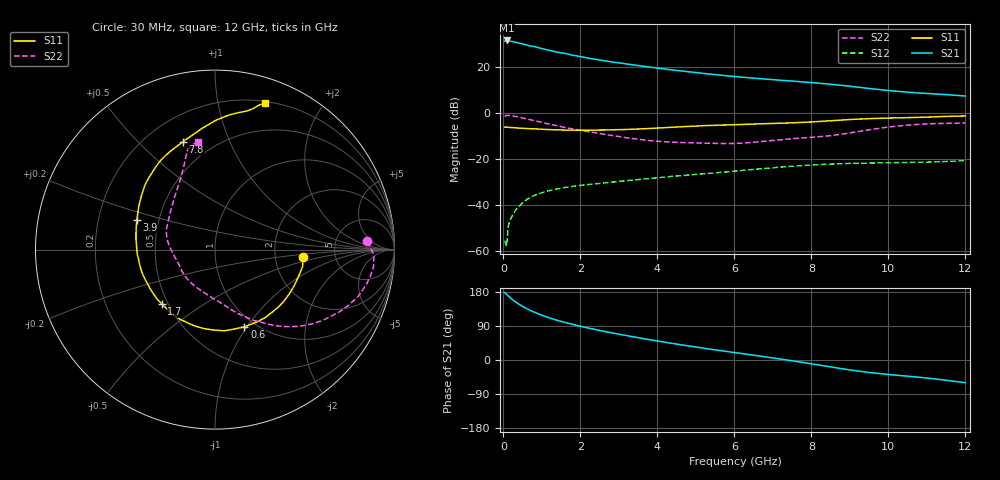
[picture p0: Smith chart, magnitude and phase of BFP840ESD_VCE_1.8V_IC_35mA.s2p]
! Infineon Technologies  Discrete & RF Semiconductors
! BFP840ESD
! VCE =  1.8 V,  IC =  35 mA
! Common Emitter S-Parameters:  May 2012
# GHz  S  MA  R  50
!  f  S11  S21  S12  S22
! GHz  MAG  ANG  MAG  ANG  MAG  ANG  MAG  ANG
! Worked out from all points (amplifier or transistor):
!   93 points, 30 MHz to 12 GHz, reference 50 ohm
!   highest |S21| = 31.4 dB at 80 MHz (marker M1)
!   |S21| within 3 dB of that: start of sweep to 882.4 MHz
!   unconditionally stable (mu >= 1): start of sweep to 103.6 MHz; 3.133 GHz to 8.55 GHz
!   at 1.1 GHz: K = 0.59, MSG = 30.8 dB, |S12| = -34.0 dB
!   at 4.2 GHz: K = 1.09, MAG = 21.5 dB, |S12| = -27.8 dB
!   at 12 GHz: K = 0.73, MSG = 14.0 dB, |S12| = -20.7 dB
!   S11 on the Smith chart (normalised r, x): 30 MHz: 2.90, -0.30; 600 MHz: 0.89, -0.97; 1.7 GHz: 0.46, -0.34; 3.9 GHz: 0.38, +0.16; 7.8 GHz: 0.35, +0.69; 12 GHz: 0.22, +1.38
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0.03  0.4918 -4.6  35.9 178.1  0.0017 78.0  0.849 3.1
0.08  0.4975 -11.0  37.25 173.3  0.0013 75.5  0.8862 -1.9
0.23  0.482 -31.1  35.27 160.0  0.006 73.9  0.8664 -12.7
0.33  0.4764 -42.9  33.82 152.2  0.0082 72.3  0.8381 -18.3
0.43  0.471 -53.1  32.41 145.6  0.0099 69.0  0.8039 -23.0
0.6  0.4603 -69.1  29.83 135.9  0.0132 64.1  0.7433 -30.2
0.7  0.4554 -77.7  28.22 130.8  0.0149 61.5  0.7129 -33.9
0.8  0.4551 -83.4  27.53 126.3  0.0163 59.0  0.6827 -37.2
1.1  0.4402 -104.9  23.66 114.4  0.0199 53.5  0.5971 -46.0
1.4  0.4326 -121.3  20.83 104.6  0.0227 49.2  0.5267 -52.9
1.7  0.4235 -134.6  18.67 96.5  0.0248 46.2  0.4662 -59.1
2.1  0.4212 -151.0  16.05 86.7  0.0276 43.9  0.4063 -66.2
2.5  0.4272 -164.7  14.04 78.0  0.0297 42.6  0.3602 -72.8
2.9  0.4338 -176.5  12.48 69.9  0.0321 41.5  0.318 -79.9
3.9  0.4658 159.0  9.624 52.0  0.0388 39.2  0.2484 -103.7
4.1  0.4758 154.7  9.153 48.5  0.0402 38.5  0.2407 -109.4
5.2  0.5305 137.3  7.189 31.2  0.0481 34.7  0.2221 -139.2
6.1  0.5594 127.5  6.078 18.4  0.0558 31.5  0.2206 -162.4
7.8  0.6269 106.5  4.696 -6.8  0.0729 19.1  0.289 159.4
8.5  0.678 96.3  4.191 -18.2  0.078 12.4  0.322 141.2
10.5  0.792 77.1  2.82 -42.7  0.0846 -3.6  0.5456 107.2
12  0.8623 71.1  2.331 -59.9  0.0927 -11.5  0.6058 99.1
